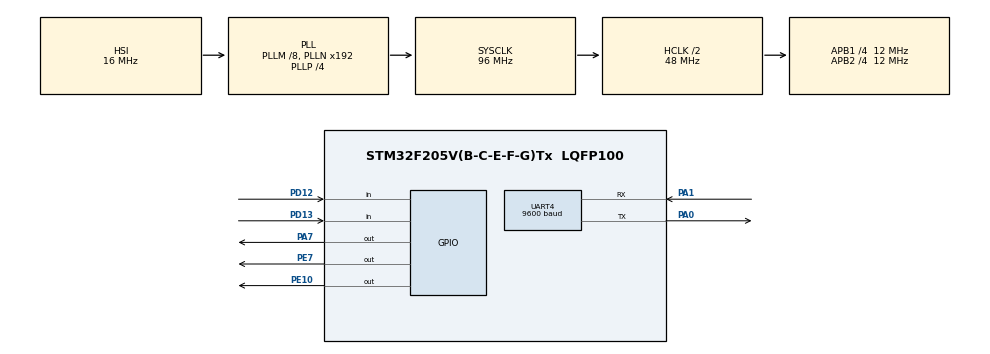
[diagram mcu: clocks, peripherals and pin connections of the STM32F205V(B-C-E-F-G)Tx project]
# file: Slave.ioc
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Mcu.Family=STM32F2
Mcu.Name=STM32F205V(B-C-E-F-G)Tx
Mcu.Package=LQFP100
NVIC.PriorityGroup=NVIC_PRIORITYGROUP_4
NVIC.UART4_IRQn=true\:0\:0\:false\:false\:true\:true\:true\:true
PA0-WKUP.Mode=Asynchronous
PA0-WKUP.Signal=UART4_TX
PA1.Mode=Asynchronous
PA1.Signal=UART4_RX
PA13.Mode=Serial_Wire
PA13.Signal=SYS_JTMS-SWDIO
PA14.Mode=Serial_Wire
PA14.Signal=SYS_JTCK-SWCLK
PA7.Signal=GPIO_Output
PD12.Signal=GPIO_Input
PD13.Signal=GPIO_Input
PE10.Signal=GPIO_Output
PE7.Signal=GPIO_Output
ProjectManager.HeapSize=0x200
ProjectManager.StackSize=0x400
ProjectManager.TargetToolchain=STM32CubeIDE
RCC.48MHZClocksFreq_Value=96000000
RCC.AHBCLKDivider=RCC_SYSCLK_DIV2
RCC.AHBFreq_Value=48000000
RCC.APB1CLKDivider=RCC_HCLK_DIV4
RCC.APB1Freq_Value=12000000
RCC.APB1TimFreq_Value=24000000
RCC.APB2CLKDivider=RCC_HCLK_DIV4
RCC.APB2Freq_Value=12000000
RCC.APB2TimFreq_Value=24000000
RCC.CortexFreq_Value=48000000
RCC.HCLKFreq_Value=48000000
RCC.HSE_VALUE=25000000
RCC.HSI_VALUE=16000000
RCC.LSE_VALUE=32768
RCC.PLLM=8
RCC.PLLP=RCC_PLLP_DIV4
RCC.SYSCLKFreq_VALUE=96000000
RCC.SYSCLKSource=RCC_SYSCLKSOURCE_PLLCLK
RCC.VCOOutputFreq_Value=384000000
TIM2.Period=9625
UART4.BaudRate=9600
UART4.StopBits=UART_STOPBITS_2
UART4.VirtualMode=Asynchronous
VP_TIM2_VS_ClockSourceINT.Mode=Internal
board=custom

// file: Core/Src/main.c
/* USER CODE BEGIN Header */
/**
  ******************************************************************************
  * @file           : main.c
  * @brief          : Main program body
  ******************************************************************************
  * @attention
  *
  * Copyright (c) 2025 STMicroelectronics.
  * All rights reserved.
  *
  * This software is licensed under terms that can be found in the LICENSE file
  * in the root directory of this software component.
  * If no LICENSE file comes with this software, it is provided AS-IS.
  *
  ******************************************************************************
  */
/* USER CODE END Header */
#include "main.h"

/* USER CODE BEGIN Includes */
#include <stdint.h>

/* USER CODE END Includes */

/* USER CODE BEGIN PTD */
typedef struct {
    uint8_t low;
    uint8_t high;
} crc_result_t;

/* USER CODE END PTD */

/* USER CODE BEGIN PD */
#define Slave_Address           27 //
#define Oper_Time_Out           50 // 5ms
/* USER CODE END PD */

/* USER CODE BEGIN PM */
crc_result_t get_CRC16(const uint8_t* data, size_t length);
void Process_Read_Holding_Register(void);
void Process_Preset_Single_Register(void);
void Process_Preset_Multiple_Register(void);
/* USER CODE END PM */

TIM_HandleTypeDef htim2;

UART_HandleTypeDef huart4;

/* USER CODE BEGIN PV */
unsigned int holding_register[0xFF];
unsigned char modbus_frame[0xFF];

/* USER CODE END PV */

void SystemClock_Config(void);
static void MX_GPIO_Init(void);
static void MX_UART4_Init(void);
static void MX_TIM2_Init(void);

int main(void)
{

  /* USER CODE BEGIN 1 */
  // holding_register[32] = 35000;
  // holding_register[33] = 64000;
  /* USER CODE END 1 */

  /* MCU Configuration--------------------------------------------------------*/

  /* Reset of all peripherals, Initializes the Flash interface and the Systick. */
  HAL_Init();

  /* Configure the system clock */
  SystemClock_Config();

  /* Initialize all configured peripherals */
  MX_GPIO_Init();
  MX_UART4_Init();
  MX_TIM2_Init();
  /* USER CODE BEGIN 2 */
  // Listening to the network
  HAL_UART_Receive_IT(&huart4, modbus_frame, 1);

  /* USER CODE END 2 */

  /* Infinite loop */
  while (1)
  {

    /* USER CODE BEGIN 3 */
    if (holding_register[0x00] == 0x0001) {
        HAL_GPIO_WritePin(GPIOA, GPIO_PIN_7, GPIO_PIN_RESET);
    }
    else {
        HAL_GPIO_WritePin(GPIOA, GPIO_PIN_7, GPIO_PIN_SET);
    }
      if (holding_register[0x01] == 0x0001) {
          HAL_GPIO_WritePin(GPIOE, GPIO_PIN_7, GPIO_PIN_RESET);
      }
      else {
          HAL_GPIO_WritePin(GPIOE, GPIO_PIN_7, GPIO_PIN_SET);
      }
      if (holding_register[0x02] == 0x0001) {
          HAL_GPIO_WritePin(GPIOE, GPIO_PIN_10, GPIO_PIN_RESET);
      }
      else {
          HAL_GPIO_WritePin(GPIOE, GPIO_PIN_10, GPIO_PIN_SET);
      }
  }
  /* USER CODE END 3 */
}

void SystemClock_Config(void)
{
  RCC_OscInitTypeDef RCC_OscInitStruct = {0};
  RCC_ClkInitTypeDef RCC_ClkInitStruct = {0};

  /** Initializes the RCC Oscillators according to the specified parameters
  * in the RCC_OscInitTypeDef structure.
  */
  RCC_OscInitStruct.OscillatorType = RCC_OSCILLATORTYPE_HSI;
  RCC_OscInitStruct.HSIState = RCC_HSI_ON;
  RCC_OscInitStruct.HSICalibrationValue = RCC_HSICALIBRATION_DEFAULT;
  RCC_OscInitStruct.PLL.PLLState = RCC_PLL_ON;
  RCC_OscInitStruct.PLL.PLLSource = RCC_PLLSOURCE_HSI;
  RCC_OscInitStruct.PLL.PLLM = 8;
  RCC_OscInitStruct.PLL.PLLN = 192;
  RCC_OscInitStruct.PLL.PLLP = RCC_PLLP_DIV4;
  RCC_OscInitStruct.PLL.PLLQ = 4;
  if (HAL_RCC_OscConfig(&RCC_OscInitStruct) != HAL_OK)
  {
    Error_Handler();
  }

  /** Initializes the CPU, AHB and APB buses clocks
  */
  RCC_ClkInitStruct.ClockType = RCC_CLOCKTYPE_HCLK|RCC_CLOCKTYPE_SYSCLK
                              |RCC_CLOCKTYPE_PCLK1|RCC_CLOCKTYPE_PCLK2;
  RCC_ClkInitStruct.SYSCLKSource = RCC_SYSCLKSOURCE_PLLCLK;
  RCC_ClkInitStruct.AHBCLKDivider = RCC_SYSCLK_DIV2;
  RCC_ClkInitStruct.APB1CLKDivider = RCC_HCLK_DIV4;
  RCC_ClkInitStruct.APB2CLKDivider = RCC_HCLK_DIV4;

  if (HAL_RCC_ClockConfig(&RCC_ClkInitStruct, FLASH_LATENCY_1) != HAL_OK)
  {
    Error_Handler();
  }
}

static void MX_TIM2_Init(void)
{

  TIM_ClockConfigTypeDef sClockSourceConfig = {0};
  TIM_MasterConfigTypeDef sMasterConfig = {0};

  htim2.Instance = TIM2;
  htim2.Init.Prescaler = 0;
  htim2.Init.CounterMode = TIM_COUNTERMODE_UP;
  htim2.Init.Period = 9625;
  htim2.Init.ClockDivision = TIM_CLOCKDIVISION_DIV1;
  htim2.Init.AutoReloadPreload = TIM_AUTORELOAD_PRELOAD_DISABLE;
  if (HAL_TIM_Base_Init(&htim2) != HAL_OK)
  {
    Error_Handler();
  }
  sClockSourceConfig.ClockSource = TIM_CLOCKSOURCE_INTERNAL;
  if (HAL_TIM_ConfigClockSource(&htim2, &sClockSourceConfig) != HAL_OK)
  {
    Error_Handler();
  }
  sMasterConfig.MasterOutputTrigger = TIM_TRGO_RESET;
  sMasterConfig.MasterSlaveMode = TIM_MASTERSLAVEMODE_DISABLE;
  if (HAL_TIMEx_MasterConfigSynchronization(&htim2, &sMasterConfig) != HAL_OK)
  {
    Error_Handler();
  }

}

static void MX_UART4_Init(void)
{

  huart4.Instance = UART4;
  huart4.Init.BaudRate = 9600;
  huart4.Init.WordLength = UART_WORDLENGTH_8B;
  huart4.Init.StopBits = UART_STOPBITS_2;
  huart4.Init.Parity = UART_PARITY_NONE;
  huart4.Init.Mode = UART_MODE_TX_RX;
  huart4.Init.HwFlowCtl = UART_HWCONTROL_NONE;
  huart4.Init.OverSampling = UART_OVERSAMPLING_16;
  if (HAL_UART_Init(&huart4) != HAL_OK)
  {
    Error_Handler();
  }

}

static void MX_GPIO_Init(void)
{
  GPIO_InitTypeDef GPIO_InitStruct = {0};

  /* GPIO Ports Clock Enable */
  __HAL_RCC_GPIOA_CLK_ENABLE();
  __HAL_RCC_GPIOE_CLK_ENABLE();
  __HAL_RCC_GPIOD_CLK_ENABLE();

  /*Configure GPIO pin Output Level */
  HAL_GPIO_WritePin(GPIOA, GPIO_PIN_7, GPIO_PIN_RESET);

  /*Configure GPIO pin Output Level */
  HAL_GPIO_WritePin(GPIOE, GPIO_PIN_7|GPIO_PIN_10, GPIO_PIN_RESET);

  /*Configure GPIO pin : PA7 */
  GPIO_InitStruct.Pin = GPIO_PIN_7;
  GPIO_InitStruct.Mode = GPIO_MODE_OUTPUT_PP;
  GPIO_InitStruct.Pull = GPIO_NOPULL;
  GPIO_InitStruct.Speed = GPIO_SPEED_FREQ_LOW;
  HAL_GPIO_Init(GPIOA, &GPIO_InitStruct);

  /*Configure GPIO pins : PE7 PE10 */
  GPIO_InitStruct.Pin = GPIO_PIN_7|GPIO_PIN_10;
  GPIO_InitStruct.Mode = GPIO_MODE_OUTPUT_PP;
  GPIO_InitStruct.Pull = GPIO_NOPULL;
  GPIO_InitStruct.Speed = GPIO_SPEED_FREQ_LOW;
  HAL_GPIO_Init(GPIOE, &GPIO_InitStruct);

  /*Configure GPIO pins : PD12 PD13 */
  GPIO_InitStruct.Pin = GPIO_PIN_12|GPIO_PIN_13;
  GPIO_InitStruct.Mode = GPIO_MODE_INPUT;
  GPIO_InitStruct.Pull = GPIO_NOPULL;
  HAL_GPIO_Init(GPIOD, &GPIO_InitStruct);

}

/* USER CODE BEGIN 4 */
void HAL_UART_RxCpltCallback(UART_HandleTypeDef *huart)
{
    if(huart->Instance == UART4)
    {
        if (modbus_frame[0] != Slave_Address) {                 // Master is not talking to me
          HAL_UART_Receive_IT(&huart4, modbus_frame, 1);
          return;
        }
        // Master is telling something
        uint8_t temp_buffer;
        HAL_UART_Receive(&huart4, &temp_buffer, 1, Oper_Time_Out);      // receive function code
        modbus_frame[1] = temp_buffer;
        switch (modbus_frame[1])
        {
            case 0x03:
                Process_Read_Holding_Register();
                break;
            case 0x06:
                Process_Preset_Single_Register();
                break;
            case 0x10:
                Process_Preset_Multiple_Register();
                break;
            default:
                break;
        }
        HAL_UART_Receive_IT(&huart4, modbus_frame, 1);
    }
}

void Process_Read_Holding_Register(void)
{
    uint8_t _buffer[2] = {0x00, 0x00};
    HAL_UART_Receive(&huart4, _buffer, 2, Oper_Time_Out);     // read address
    modbus_frame[2] = _buffer[0];       // Data Address Hi
    modbus_frame[3] = _buffer[1];       // Data Address Lo
    HAL_UART_Receive(&huart4, _buffer, 2, Oper_Time_Out);     // read quantity
    modbus_frame[4] = _buffer[0];       // Number of Points Hi
    modbus_frame[5] = _buffer[1];       // Number of Points Lo
    HAL_UART_Receive(&huart4, _buffer, 2, Oper_Time_Out);     // read CRC
    modbus_frame[6] = _buffer[0];       // CRC Lo
    modbus_frame[7] = _buffer[1];       // CRC Hi
    // init response
    int number_to_send = 5 + (modbus_frame[4] << 8 | modbus_frame[5]) * 2;
    uint8_t response[number_to_send];
    response[0] = Slave_Address;
    response[1] = 0x03;
    response[2] = number_to_send - 5;
    // Check data
    crc_result_t crc_result = get_CRC16(modbus_frame, 6);
    if (crc_result.low != modbus_frame[6] || crc_result.high != modbus_frame[7])
        return;
    for (int i = 0; i < (number_to_send - 5) / 2; i++) {
        int index = (modbus_frame[2] << 8 | modbus_frame[3]) + i;
        response[3 + i * 2] = holding_register[index] >> 8;     // Data Hi
        response[4 + i * 2] = holding_register[index] & 0xFF;   // Data Lo
    }
    crc_result = get_CRC16(response, number_to_send - 2);
    response[number_to_send - 2] = crc_result.low;
    response[number_to_send - 1] = crc_result.high;
    HAL_UART_Transmit(&huart4, response, number_to_send, Oper_Time_Out);
}
void Process_Preset_Single_Register(void)
{
    uint8_t response[8];
    uint8_t _buffer[6];
    HAL_UART_Receive(&huart4, _buffer, 6, Oper_Time_Out);    // Read all bytes
    // create echo response for function
    response[0] = modbus_frame[0];
    response[1] = modbus_frame[1];
    for (int i = 0; i < 6; i++) {
        response[i + 2] = _buffer[i];
        modbus_frame[i + 2] = _buffer[i];       // update modbus frame
    }
    crc_result_t crc_result = get_CRC16(modbus_frame, 6);
    if (crc_result.low != modbus_frame[6] || crc_result.high != modbus_frame[7]) {
        return;
    }
    // Preset value
    holding_register[((modbus_frame[2] << 8) | modbus_frame[3])] = ((modbus_frame[4] << 8) | modbus_frame[5]);
    crc_result = get_CRC16(response, 6);
    response[6] = crc_result.low;
    response[7] = crc_result.high;
    HAL_UART_Transmit(&huart4, response, 8, Oper_Time_Out);
}
void Process_Preset_Multiple_Register(void)
{
    uint8_t size = 2;
    uint8_t response[8];
    uint8_t _buffer[2];
    // Read starting address
    HAL_UART_Receive(&huart4, _buffer, 2, Oper_Time_Out);
    uint16_t start_address = (_buffer[0] << 8) | _buffer[1];
    modbus_frame[2] = _buffer[0];
    modbus_frame[3] = _buffer[1];
    size += 2;
    // Read Number of preset Register
    HAL_UART_Receive(&huart4, _buffer, 2, Oper_Time_Out);
    modbus_frame[4] = _buffer[0];
    modbus_frame[5] = _buffer[1];
    size += 2;
    // Read byte count
    HAL_UART_Receive(&huart4, _buffer, 1, Oper_Time_Out);       // pass this byte
    uint16_t byte_count = _buffer[0];
    modbus_frame[6] = _buffer[0];
    size += 1;
    for (int i = 0; i < byte_count; i++)
    {
        HAL_UART_Receive(&huart4, _buffer, 1, Oper_Time_Out);   // Data
        modbus_frame[7 + i] = _buffer[0];
        size++;
    }
    // read CRC
    HAL_UART_Receive(&huart4, _buffer, 2, Oper_Time_Out);
    modbus_frame[size + 1] = _buffer[0];
    modbus_frame[size + 2] = _buffer[1];
    crc_result_t crc_result = get_CRC16(modbus_frame, size);
    if (crc_result.low != modbus_frame[size + 1] || crc_result.high != modbus_frame[size + 2]) {
        return;
    }
    for (int i = 7; i < size; i+=2) {
        int index = (modbus_frame[2] << 8 | modbus_frame[3]) + ((i - 7) / 2);
        holding_register[index] = (modbus_frame[i] << 8 | modbus_frame[i + 1]);
    }
    response[0] = modbus_frame[0];
    response[1] = modbus_frame[1];
    response[2] = modbus_frame[2];
    response[3] = modbus_frame[3];
    response[4] = modbus_frame[4];
    response[5] = modbus_frame[5];
    crc_result = get_CRC16(response, 6);
    response[6] = crc_result.low;
    response[7] = crc_result.high;
    HAL_UART_Transmit(&huart4, response, 8, Oper_Time_Out);
}
crc_result_t get_CRC16(const uint8_t* data, size_t length)
{
    uint16_t crc = 0xFFFF;

    for (size_t pos = 0; pos < length; pos++)
    {
        crc ^= data[pos];

        for (int i = 8; i != 0; i--)
        {
            if ((crc & 0x0001) != 0)
            {
                crc >>= 1;
                crc ^= 0xA001;
            }
            else
            {
                crc >>= 1;
            }
        }
    }

    crc_result_t result;
    result.low = (uint8_t)(crc & 0xFF);
    result.high = (uint8_t)(crc >> 8);

    return result;
}
/* USER CODE END 4 */

void Error_Handler(void)
{
  __disable_irq();
  while (1)
  {
  }
}
